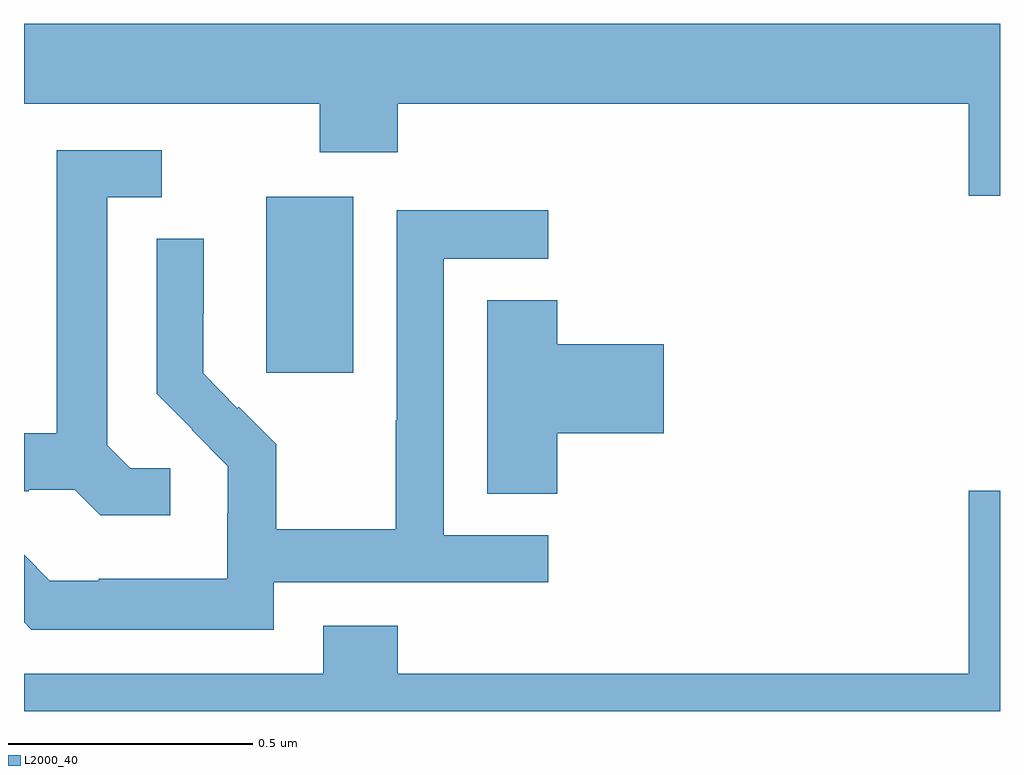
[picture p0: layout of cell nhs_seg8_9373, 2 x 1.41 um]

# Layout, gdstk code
import gdstk
lib = gdstk.Library(unit=1e-6, precision=1e-09)
def R(c, l, rs):  # rectangles x0, y0, x1, y1
    for r in rs: c.add(gdstk.rectangle(r[:2], r[2:], *l))
def P(c, l, *ps):  # polygons
    for p in ps: c.add(gdstk.Polygon(p, *l))
L2000_40 = (2000, 40)

nhs_seg8_9373 = lib.new_cell('nhs_seg8_9373')
R(nhs_seg8_9373, L2000_40, [(235.496,1138.593,235.675,1138.954)])
P(nhs_seg8_9373, L2000_40, [(237,1139.308),(235,1139.308),(235,1139.144),(235.606,1139.144),(235.606,1139.045),(235.766,1139.045),(235.766,1139.144),(236.936,1139.144),(236.936,1138.956),(237,1138.956)],
  [(235.3,1138.398),(235.218,1138.398),(235.171,1138.445),(235.171,1138.953),(235.282,1138.953),(235.282,1139.049),(235.067,1139.049),(235.067,1138.469),(235,1138.469),(235,1138.35),(235.01,1138.35),(235.01,1138.353),(235.104,1138.353),(235.156,1138.301),(235.3,1138.301)],
  [(235.512,1138.164),(236.074,1138.164),(236.074,1138.26),(235.86,1138.26),(235.86,1138.827),(236.074,1138.827),(236.074,1138.926),(235.764,1138.926),(235.764,1138.496),(235.762,1138.496),(235.762,1138.273),(235.517,1138.273),(235.517,1138.447),(235.44,1138.524),(235.437,1138.521),(235.367,1138.592),(235.367,1138.714),(235.368,1138.714),(235.368,1138.868),(235.272,1138.868),(235.272,1138.55),(235.345,1138.477),(235.344,1138.476),(235.418,1138.402),(235.418,1138.305),(235.416,1138.305),(235.416,1138.171),(235.153,1138.171),(235.153,1138.167),(235.053,1138.167),(235,1138.22),(235,1138.082),(235.015,1138.067),(235.512,1138.067)],
  [(236.093,1138.469),(236.311,1138.469),(236.311,1138.652),(236.093,1138.652),(236.093,1138.742),(235.949,1138.742),(235.949,1138.345),(236.093,1138.345)],
  [(237,1138.351),(236.936,1138.351),(236.936,1137.976),(235.766,1137.976),(235.766,1138.075),(235.613,1138.075),(235.613,1137.976),(235,1137.976),(235,1137.9),(237,1137.9)])

lib.write_gds('nhs_seg8_9373.gds')
